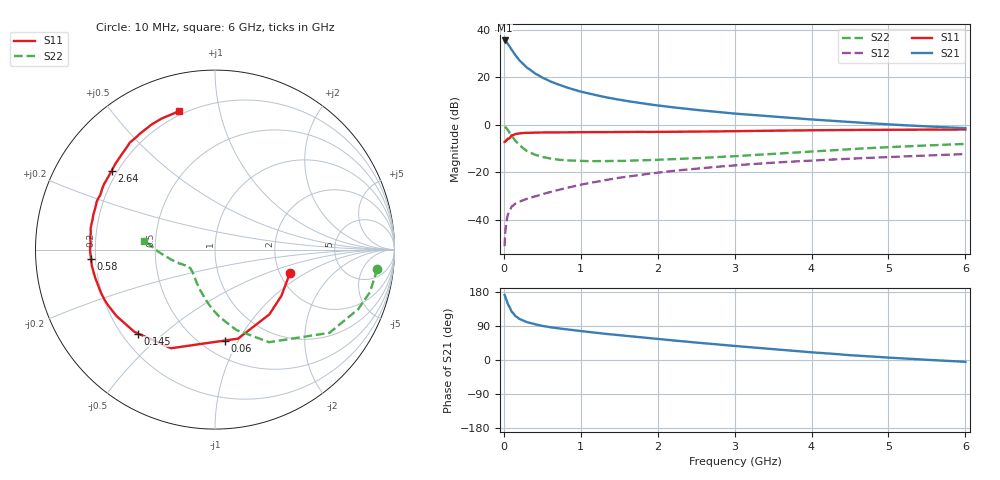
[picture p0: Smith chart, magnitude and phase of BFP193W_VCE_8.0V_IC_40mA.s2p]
! Infineon Technologies  Discrete & RF Semiconductors
! BFP193W
! VCE = 8.0 V,  IC =  40 mA
! Common Emitter S-Parameters:  Jan 2016
# GHz  S  MA  R  50
!  f  S11  S21  S12  S22
! GHz  MAG  ANG  MAG  ANG  MAG  ANG  MAG  ANG
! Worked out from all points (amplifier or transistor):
!   210 points, 10 MHz to 6 GHz, reference 50 ohm
!   highest |S21| = 35.5 dB at 10 MHz (marker M1)
!   |S21| within 3 dB of that: start of sweep to 83.28 MHz
!   unconditionally stable (mu >= 1): 770.5 MHz to 4.483 GHz
!   at 185 MHz: K = 0.46, MSG = 30.2 dB, |S12| = -32.6 dB
!   at 1.52 GHz: K = 1.11, MAG = 14.3 dB, |S12| = -22.2 dB
!   at 6 GHz: K = 0.95, MSG = 5.5 dB, |S12| = -12.3 dB
!   S11 on the Smith chart (normalised r, x): 10 MHz: 2.27, -0.73; 60 MHz: 0.64, -0.88; 145 MHz: 0.26, -0.41; 580 MHz: 0.18, -0.04; 2.64 GHz: 0.18, +0.33; 6 GHz: 0.18, +0.76
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0.01  0.4376 -17.4  59.64 171.6  0.0028 80.8  0.9112 -6.7
0.02  0.4508 -34.8  58.68 165.7  0.0058 76.1  0.895 -15.4
0.03  0.4712 -50.0  56.75 159.4  0.0081 73.6  0.864 -22.6
0.05  0.5125 -75.5  51.5 147.8  0.0126 63.2  0.7886 -36.0
0.06  0.5097 -84.0  48.51 144.7  0.0138 59.6  0.7419 -39.7
0.1  0.6016 -114.0  38.48 127.9  0.0189 50.0  0.5977 -59.7
0.145  0.6344 -132.5  30.04 117.5  0.0217 44.7  0.4746 -73.3
0.15  0.6418 -134.4  29.19 116.0  0.022 44.2  0.463 -75.2
0.2  0.6618 -146.0  23.03 108.7  0.0241 43.0  0.3773 -86.0
0.24  0.6712 -152.2  19.78 104.8  0.0255 43.0  0.3335 -92.2
0.3  0.6792 -159.1  16 99.9  0.0278 44.3  0.2819 -100.9
0.4  0.686 -166.9  12.22 94.3  0.0309 46.7  0.2371 -111.0
0.58  0.6927 -175.6  8.58 87.4  0.0377 51.7  0.1988 -123.5
0.8  0.6937 177.2  6.243 81.1  0.0464 55.3  0.1795 -132.9
1.02  0.6992 171.9  4.919 75.9  0.0558 57.8  0.174 -139.2
1.4  0.7053 164.0  3.612 67.4  0.0723 58.7  0.174 -145.1
2.02  0.7115 152.9  2.536 55.1  0.0994 57.2  0.1847 -150.7
2.64  0.7246 142.7  1.96 43.5  0.1257 53.6  0.204 -157.0
3.1  0.7394 135.7  1.677 35.4  0.1443 50.5  0.2242 -161.6
4.1  0.7708 121.9  1.266 18.9  0.1808 43.1  0.2814 -172.8
5.1  0.7883 111.7  1.002 5.2  0.2132 36.5  0.3452 178.0
6  0.7976 104.5  0.852 -4.8  0.2428 31.3  0.3969 172.8
